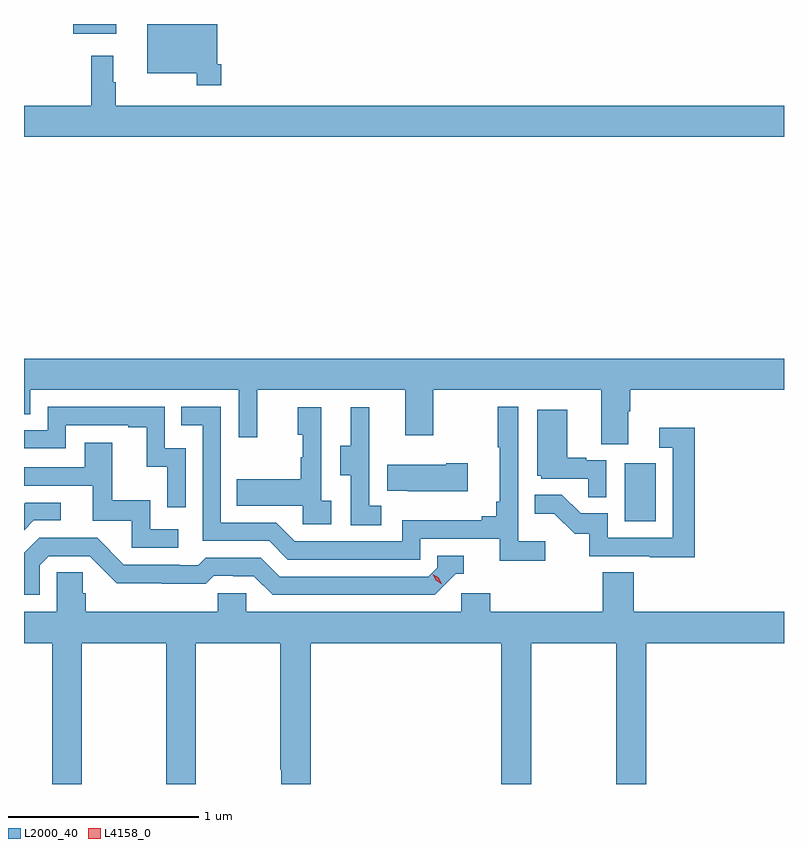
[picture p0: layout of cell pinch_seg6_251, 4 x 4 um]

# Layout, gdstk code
import gdstk
lib = gdstk.Library(unit=1e-6, precision=1e-09)
def R(c, l, rs):  # rectangles x0, y0, x1, y1
    for r in rs: c.add(gdstk.rectangle(r[:2], r[2:], *l))
def P(c, l, *ps):  # polygons
    for p in ps: c.add(gdstk.Polygon(p, *l))
L2000_40 = (2000, 40)
L4158_0 = (4158, 0)

pinch_seg6_251 = lib.new_cell('pinch_seg6_251')
R(pinch_seg6_251, L2000_40, [(1093.1,917.34,1093.264,917.647), (1090.196,919.907,1090.423,919.958)])
P(pinch_seg6_251, L2000_40, [(1090.976,919.747),(1090.956,919.747),(1090.956,919.958),(1090.586,919.958),(1090.586,919.7),(1090.848,919.7),(1090.848,919.635),(1090.976,919.635)],
  [(1093.938,919.528),(1090.42,919.528),(1090.42,919.652),(1090.408,919.652),(1090.408,919.792),(1090.291,919.792),(1090.291,919.528),(1089.938,919.528),(1089.938,919.364),(1093.938,919.364)],
  [(1093.117,917.92),(1093.13,917.92),(1093.13,918.032),(1093.938,918.032),(1093.938,918.196),(1089.938,918.196),(1089.938,917.905),(1089.972,917.905),(1089.972,918.032),(1091.067,918.032),(1091.067,917.784),(1091.165,917.784),(1091.165,918.032),(1091.945,918.032),(1091.945,917.793),(1092.093,917.793),(1092.093,918.032),(1092.977,918.032),(1092.977,917.746),(1093.117,917.746)],
  [(1092.682,917.236),(1092.54,917.236),(1092.54,917.944),(1092.432,917.944),(1092.432,917.731),(1092.443,917.731),(1092.443,917.443),(1092.424,917.443),(1092.424,917.366),(1092.347,917.366),(1092.347,917.347),(1091.928,917.347),(1091.928,917.235),(1091.364,917.235),(1091.265,917.334),(1090.974,917.334),(1090.974,917.943),(1090.765,917.943),(1090.765,917.847),(1090.878,917.847),(1090.878,917.238),(1091.228,917.238),(1091.327,917.139),(1092.024,917.139),(1092.024,917.25),(1092.443,917.25),(1092.443,917.134),(1092.682,917.134)],
  [(1090.788,917.724),(1090.68,917.724),(1090.68,917.943),(1090.062,917.943),(1090.062,917.82),(1089.938,917.82),(1089.938,917.724),(1090.158,917.724),(1090.158,917.847),(1090.487,917.847),(1090.487,917.835),(1090.583,917.835),(1090.583,917.627),(1090.692,917.627),(1090.692,917.415),(1090.788,917.415)],
  [(1091.554,917.45),(1091.502,917.45),(1091.502,917.941),(1091.378,917.941),(1091.378,917.796),(1091.404,917.796),(1091.404,917.678),(1091.394,917.678),(1091.394,917.563),(1091.059,917.563),(1091.059,917.423),(1091.406,917.423),(1091.406,917.325),(1091.554,917.325)],
  [(1091.818,917.423),(1091.754,917.423),(1091.754,917.727),(1091.756,917.727),(1091.756,917.941),(1091.657,917.941),(1091.657,917.739),(1091.603,917.739),(1091.603,917.584),(1091.658,917.584),(1091.658,917.32),(1091.818,917.32)],
  [(1093.002,917.661),(1092.896,917.661),(1092.896,917.674),(1092.796,917.674),(1092.796,917.929),(1092.638,917.929),(1092.638,917.58),(1092.66,917.58),(1092.66,917.565),(1092.907,917.565),(1092.907,917.467),(1093.002,917.467)],
  [(1093.469,917.833),(1093.281,917.833),(1093.281,917.727),(1093.353,917.727),(1093.353,917.253),(1093.011,917.253),(1093.011,917.382),(1092.867,917.382),(1092.769,917.48),(1092.625,917.48),(1092.625,917.381),(1092.729,917.381),(1092.836,917.274),(1092.913,917.274),(1092.913,917.157),(1093.231,917.157),(1093.231,917.152),(1093.469,917.152)],
  [(1090.75,917.298),(1090.602,917.298),(1090.602,917.452),(1090.403,917.452),(1090.403,917.755),(1090.259,917.755),(1090.259,917.625),(1089.938,917.625),(1089.938,917.529),(1090.301,917.529),(1090.301,917.343),(1090.506,917.343),(1090.506,917.202),(1090.75,917.202)],
  [(1092.274,917.646),(1092.161,917.646),(1092.161,917.638),(1091.851,917.638),(1091.851,917.501),(1091.959,917.501),(1091.959,917.498),(1092.274,917.498)],
  [(1089.99,917.346),(1090.132,917.346),(1090.132,917.439),(1089.944,917.439),(1089.938,917.433),(1089.938,917.294)],
  [(1090.02,917.109),(1090.068,917.157),(1090.284,917.157),(1090.426,917.015),(1090.662,917.015),(1090.662,917.013),(1090.895,917.013),(1090.937,917.055),(1091.04,917.055),(1091.04,917.052),(1091.147,917.052),(1091.246,916.953),(1092.099,916.953),(1092.21,917.064),(1092.253,917.064),(1092.253,917.16),(1092.114,917.16),(1092.114,917.097),(1092.066,917.049),(1091.283,917.049),(1091.184,917.148),(1090.895,917.148),(1090.856,917.109),(1090.757,917.109),(1090.757,917.112),(1090.464,917.112),(1090.323,917.253),(1090.017,917.253),(1089.938,917.174),(1089.938,916.953),(1090.02,916.953)],
  [(1090.242,916.7),(1090.687,916.7),(1090.687,915.958),(1090.842,915.958),(1090.842,916.7),(1091.287,916.7),(1091.287,916.033),(1091.291,916.033),(1091.291,915.958),(1091.447,915.958),(1091.447,916.7),(1092.449,916.7),(1092.449,915.958),(1092.609,915.958),(1092.609,916.7),(1093.054,916.7),(1093.054,915.958),(1093.214,915.958),(1093.214,916.7),(1093.938,916.7),(1093.938,916.864),(1093.148,916.864),(1093.148,917.072),(1092.983,917.072),(1092.983,916.864),(1092.392,916.864),(1092.392,916.962),(1092.24,916.962),(1092.24,916.864),(1091.109,916.864),(1091.109,916.962),(1090.959,916.962),(1090.959,916.864),(1090.262,916.864),(1090.262,916.962),(1090.247,916.962),(1090.247,917.072),(1090.11,917.072),(1090.11,916.864),(1089.938,916.864),(1089.938,916.7),(1090.087,916.7),(1090.087,915.958),(1090.242,915.958)])
P(pinch_seg6_251, L4158_0, [(1092.136,917.01),(1092.106,917.03),(1092.09,917.063),(1092.09,917.063),(1092.09,917.063),(1092.121,917.043),(1092.136,917.01),(1092.136,917.01)])

lib.write_gds('pinch_seg6_251.gds')
